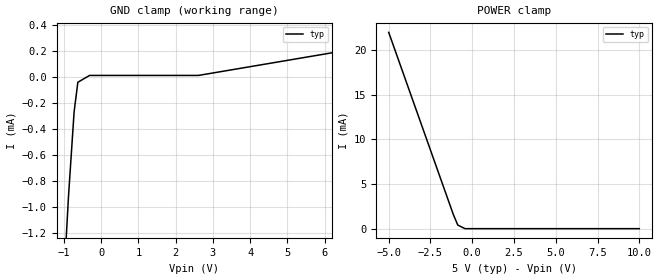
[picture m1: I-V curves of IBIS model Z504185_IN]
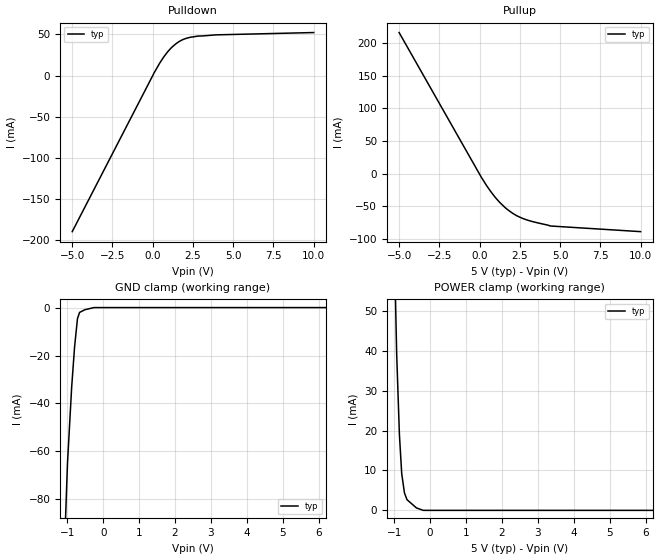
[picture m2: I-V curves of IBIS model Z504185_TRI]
| YOU ARE ONLY AUTHORIZED TO USE THIS SOFTWARE
| ACCORDING TO LICENSOR'S LICENSE RESTRICTIONS.
[IBIS Ver] 3.1
[File Name] mc74hc241dw.ibs
[File Rev] 2.0
[Source] Measured and created by ICX Technology
[Date] Friday 7/14/00 9:08:08 AM
[Copyright]
| (C) COPYRIGHT 1993-2000
| MENTOR GRAPHICS CORPORATION
| ICX STANDARD LIBRARY, ICX PROJECT MODELING,
| ICX CUSTOM MODELING, ICX VENDOR MODEL
| ALL RIGHTS RESERVED.
| THE FOLLOWING ARE TRADEMARKS OR SERVICE MARKS OF
| MENTOR GRAPHICS CORPORATION:ICX (R), ICX STANDARD
| LIBRARY(R), ICX PROJECT MODELING(R), ICX CUSTOM
| MODELING(R), qualityIBIS(TM), MODELVIEWER(TM),
| AND MODELEDITOR(TM)
| ALL COPIES OF SOFTWARE, INCLUDING BUT NOT LIMITED TO
| ANY MODIFICATIONS, ENHANCEMENTS OR DERIVATIVE WORKS,
| MUST CONTAIN ALL MENTOR GRAPHICS CORPORATION'S
| NOTICES AND LEGENDS, INCLUDING THOSE EMBEDDED IN
| SOFTWARE AND THOSE AFFIXED TO SOFTWARE MEDIUM
| AND CONTAINER, AS RECEIVED FROM MENTOR GRAPHICS
| CORPORATION.
|  ZAP Model Builder 2.7
[Component] MC74HC241DW
[Manufacturer] OnSemiconductor
[Package]
| variable   typ   min   max
R_pkg  .178ohms NA NA
L_pkg  4.43nH NA NA
C_pkg  .62pF NA NA
[Pin] signal_name  model_name  R_pin  L_pin C_pin
1 _G1 Z504185_IN .186 5.37n .68p
2 A0 Z504185_IN .182 4.89n .65p
3 Y7 Z504185_TRI .178 4.42n .62p
4 A1 Z504185_IN .174 3.96n .59p
5 Y6 Z504185_TRI .17 3.51n .56p
6 A2 Z504185_IN .17 3.51n .56p
7 Y5 Z504185_TRI .174 3.96n .59p
8 A3 Z504185_IN .178 4.42n .62p
9 Y4 Z504185_TRI .182 4.89n .65p
10 GND GND .186 5.37n .68p
11 A4 Z504185_IN .186 5.37n .68p
12 Y3 Z504185_TRI .182 4.89n .65p
13 A5 Z504185_IN .178 4.42n .62p
14 Y2 Z504185_TRI .174 3.96n .59p
15 A6 Z504185_IN .17 3.51n .56p
16 Y1 Z504185_TRI .17 3.51n .56p
17 A7 Z504185_IN .174 3.96n .59p
18 Y0 Z504185_TRI .178 4.42n .62p
19 G2 Z504185_IN .182 4.89n .65p
20 VCC POWER .186 5.37n .68p
| Models and submodels in the file (2): Z504185_IN (Input), Z504185_TRI (3-state)
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| (C) COPYRIGHT 1993-2000
| MENTOR GRAPHICS CORPORATION
| ICX STANDARD LIBRARY, ICX PROJECT MODELING,
| ICX CUSTOM MODELING, ICX VENDOR MODEL
| ALL RIGHTS RESERVED.
| THE FOLLOWING ARE TRADEMARKS OR SERVICE MARKS OF
| MENTOR GRAPHICS CORPORATION:ICX (R), ICX STANDARD
| LIBRARY(R), ICX PROJECT MODELING(R), ICX CUSTOM
| MODELING(R), qualityIBIS(TM), MODELVIEWER(TM),
| AND MODELEDITOR(TM)
| ALL COPIES OF SOFTWARE, INCLUDING BUT NOT LIMITED TO
| ANY MODIFICATIONS, ENHANCEMENTS OR DERIVATIVE WORKS,
| MUST CONTAIN ALL MENTOR GRAPHICS CORPORATION'S
| NOTICES AND LEGENDS, INCLUDING THOSE EMBEDDED IN
| SOFTWARE AND THOSE AFFIXED TO SOFTWARE MEDIUM
| AND CONTAINER, AS RECEIVED FROM MENTOR GRAPHICS
| CORPORATION.
| Model Application Version 1.89 2/18/99.
[Model] Z504185_IN
Model_type Input
Vinl = 1.000V
Vinh = 3.500V
C_comp 4.000pF NA NA
| variable typ   min   max
[Voltage Range] 5.000V NA NA
[GND Clamp Reference] 0.000V NA NA
[POWER Clamp Reference] 5.000V NA NA
[GND Clamp]
-5V       -22.54mA   NA         NA
-878.9mV  -918.1uA   NA         NA
-728.1mV  -266.9uA   NA         NA
-627.7mV  -38.46uA   NA         NA
-313.8mV  14.23uA    NA         NA
2.611V    14.23uA    NA         NA
10V       373.4uA    NA         NA
[POWER Clamp]
-5V       22.01mA    NA         NA
-1.133V   1.59mA     NA         NA
-866mV    402.8uA    NA         NA
-433mV    0A         NA         NA
10V       0A         NA         NA
| (C) COPYRIGHT 1993-2000
| MENTOR GRAPHICS CORPORATION
| ICX STANDARD LIBRARY, ICX PROJECT MODELING,
| ICX CUSTOM MODELING, ICX VENDOR MODEL
| ALL RIGHTS RESERVED.
| THE FOLLOWING ARE TRADEMARKS OR SERVICE MARKS OF
| MENTOR GRAPHICS CORPORATION:ICX (R), ICX STANDARD
| LIBRARY(R), ICX PROJECT MODELING(R), ICX CUSTOM
| MODELING(R), qualityIBIS(TM), MODELVIEWER(TM),
| AND MODELEDITOR(TM)
| ALL COPIES OF SOFTWARE, INCLUDING BUT NOT LIMITED TO
| ANY MODIFICATIONS, ENHANCEMENTS OR DERIVATIVE WORKS,
| MUST CONTAIN ALL MENTOR GRAPHICS CORPORATION'S
| NOTICES AND LEGENDS, INCLUDING THOSE EMBEDDED IN
| SOFTWARE AND THOSE AFFIXED TO SOFTWARE MEDIUM
| AND CONTAINER, AS RECEIVED FROM MENTOR GRAPHICS
| CORPORATION.
| Model Application Version 1.89 2/18/99.
[Model] Z504185_TRI
Model_type 3-state
Vref=0.000V
Rref=500.0Mohms
Cref=50.00pF
Vmeas=2.500V
C_comp 8.000pF NA NA
| variable typ   min   max
[Voltage Range] 5.000V NA NA
[POWER Clamp Reference] 5.000V NA NA
[Pullup Reference] 5.000V NA NA
[Pulldown Reference] 0.000V NA NA
[GND Clamp Reference] 0.000V NA NA
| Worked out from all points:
|   slope of the pulldown table from 0 to 0.75 V, typ, clamps not added: 30.8 ohm
|   slope of the pullup table from 0 to 0.75 V, typ, clamps not added: 26.4 ohm
|   GND clamp passes 1 mA (typ) near -0.52 V on its own axis
[GND Clamp]
-5V       -2.48A     NA         NA
-1.172V   -140.1mA   NA         NA
-996.1mV  -65.05mA   NA         NA
-878.9mV  -33.12mA   NA         NA
-798.7mV  -16.51mA   NA         NA
-717.6mV  -4.625mA   NA         NA
-658.9mV  -2.019mA   NA         NA
-510mV    -890.9uA   NA         NA
-255mV    0A         NA         NA
10V       0A         NA         NA
[Pulldown]
-5V       -189.4mA   NA         NA
102.5mV   3.979mA    NA         NA
681.4mV   22.66mA    NA         NA
1.108V    32.93mA    NA         NA
1.444V    38.8mA     NA         NA
1.836V    43.52mA    NA         NA
2.133V    45.69mA    NA         NA
2.788V    48.04mA    NA         NA
3.926V    49.55mA    NA         NA
10V       52.38mA    NA         NA
[Pullup]
-5V       216.2mA    NA         NA
98mV      -5.342mA   NA         NA
440mV     -18.75mA   NA         NA
981mV     -36.82mA   NA         NA
1.583V    -52.19mA   NA         NA
2.051V    -60.94mA   NA         NA
2.7V      -69.08mA   NA         NA
4.39V     -80.42mA   NA         NA
10V       -89.09mA   NA         NA
[POWER Clamp]
-5V       2.26A      NA         NA
-1.064V   94.64mA    NA         NA
-931mV    39.11mA    NA         NA
-855mV    19mA       NA         NA
-791mV    9.233mA    NA         NA
-715mV    4.376mA    NA         NA
-644mV    2.682mA    NA         NA
-381mV    612.7uA    NA         NA
-190.5mV  0A         NA         NA
10V       0A         NA         NA
[Ramp]
| variable typ min max
dV/dt_r 2.878/1.343n NA NA
dV/dt_f 2.878/1.462n NA NA
R_load = 500.0Ohms
